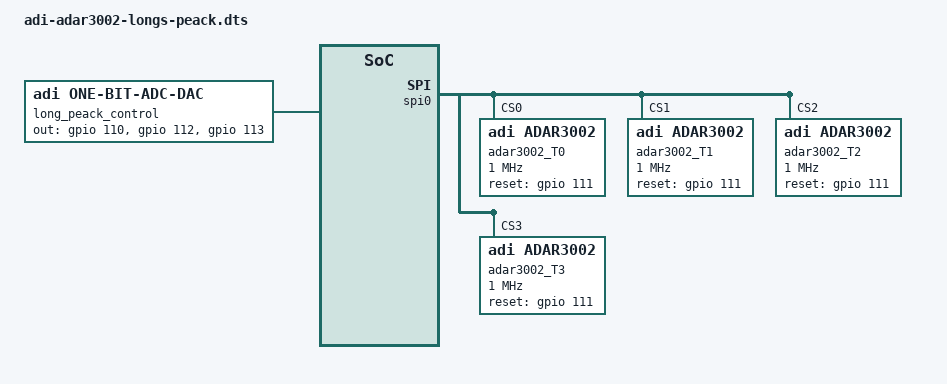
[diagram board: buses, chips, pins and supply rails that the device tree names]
// SPDX-License-Identifier: GPL-2.0
/*
 * dts file for AD9172-FMC-EBZ on Xilinx ZynqMP ZCU102 Rev 1.0
 *
 * Copyright (C) 2018-2019 Analog Devices Inc.
 */

#include "zynqmp-zcu102-rev1.0.dts"

/ {
	long_peack_control@0 {
		compatible = "adi,one-bit-adc-dac";
		#address-cells = <1>;
		#size-cells = <0>;
		// 78 offset
		out-gpios = <&gpio 110 0>, <&gpio 112 0>, <&gpio 113 0>;
		label = "long_peack_control";

		channel@0 {
			reg = <0>;
			label = "MUTE";
		};
		channel@1 {
			reg = <1>;
			label = "UPDATE";
		};
		channel@2 {
			reg = <2>;
			label = "RESET";
		};
	};
};

&spi0 {
	status = "okay";
	num-cs = <8>;
	is-decoded-cs = <1>;
	adar3002_T0: adar3002_0@0 {
		compatible = "adi,adar3002";
		reg = <0>;
		spi-max-frequency = <1000000>;
		label = "adar3002_T0";
		#address-cells = <1>;
		#size-cells = <0>;
		reset-gpios = <&gpio 111 0>;

		adar3002_0@0 {
			reg = <0>;
			label = "adar3002_U1E";
		};
		adar3002_1@1 {
			reg = <1>;
			label = "adar3002_U2E";
		};
		adar3002_2@2 {
			reg = <2>;
			label = "adar3002_U3E";
		};
		adar3002_3@3 {
			reg = <3>;
			label = "adar3002_U4E";
		};

		adar3002_4@4 {
			reg = <4>;
			label = "adar3002_U1F";
		};
		adar3002_5@5 {
			reg = <5>;
			label = "adar3002_U2F";
		};
		adar3002_6@6 {
			reg = <6>;
			label = "adar3002_U3F";
		};
		adar3002_7@7 {
			reg = <7>;
			label = "adar3002_U4F";
		};

		adar3002_8@8 {
			reg = <8>;
			label = "adar3002_U1G";
		};
		adar3002_9@9 {
			reg = <9>;
			label = "adar3002_U2G";
		};
		adar3002_10@10 {
			reg = <10>;
			label = "adar3002_U3G";
		};
		adar3002_11@11 {
			reg = <11>;
			label = "adar3002_U4G";
		};

		adar3002_12@12 {
			reg = <12>;
			label = "adar3002_U1H";
		};
		adar3002_13@13 {
			reg = <13>;
			label = "adar3002_U2H";
		};
		adar3002_14@14 {
			reg = <14>;
			label = "adar3002_U3H";
		};
		adar3002_15@15 {
			reg = <15>;
			label = "adar3002_U4H";
		};
	};

	adar3002_T1: adar3002_1@1 {
		compatible = "adi,adar3002";
		reg = <1>;
		spi-max-frequency = <1000000>;
		label = "adar3002_T1";
		#address-cells = <1>;
		#size-cells = <0>;
		reset-gpios = <&gpio 111 0>;

		adar3002_0@0 {
			reg = <0>;
			label = "adar3002_U1E";
		};
		adar3002_1@1 {
			reg = <1>;
			label = "adar3002_U2E";
		};
		adar3002_2@2 {
			reg = <2>;
			label = "adar3002_U3E";
		};
		adar3002_3@3 {
			reg = <3>;
			label = "adar3002_U4E";
		};

		adar3002_4@4 {
			reg = <4>;
			label = "adar3002_U1F";
		};
		adar3002_5@5 {
			reg = <5>;
			label = "adar3002_U2F";
		};
		adar3002_6@6 {
			reg = <6>;
			label = "adar3002_U3F";
		};
		adar3002_7@7 {
			reg = <7>;
			label = "adar3002_U4F";
		};

		adar3002_8@8 {
			reg = <8>;
			label = "adar3002_U1G";
		};
		adar3002_9@9 {
			reg = <9>;
			label = "adar3002_U2G";
		};
		adar3002_10@10 {
			reg = <10>;
			label = "adar3002_U3G";
		};
		adar3002_11@11 {
			reg = <11>;
			label = "adar3002_U4G";
		};

		adar3002_12@12 {
			reg = <12>;
			label = "adar3002_U1H";
		};
		adar3002_13@13 {
			reg = <13>;
			label = "adar3002_U2H";
		};
		adar3002_14@14 {
			reg = <14>;
			label = "adar3002_U3H";
		};
		adar3002_15@15 {
			reg = <15>;
			label = "adar3002_U4H";
		};
	};

	adar3002_T2: adar3002_2@2 {
		compatible = "adi,adar3002";
		reg = <2>;
		spi-max-frequency = <1000000>;
		label = "adar3002_T2";
		#address-cells = <1>;
		#size-cells = <0>;
		reset-gpios = <&gpio 111 0>;

		adar3002_0@0 {
			reg = <0>;
			label = "adar3002_U1E";
		};
		adar3002_1@1 {
			reg = <1>;
			label = "adar3002_U2E";
		};
		adar3002_2@2 {
			reg = <2>;
			label = "adar3002_U3E";
		};
		adar3002_3@3 {
			reg = <3>;
			label = "adar3002_U4E";
		};

		adar3002_4@4 {
			reg = <4>;
			label = "adar3002_U1F";
		};
		adar3002_5@5 {
			reg = <5>;
			label = "adar3002_U2F";
		};
		adar3002_6@6 {
			reg = <6>;
			label = "adar3002_U3F";
		};
		adar3002_7@7 {
			reg = <7>;
			label = "adar3002_U4F";
		};

		adar3002_8@8 {
			reg = <8>;
			label = "adar3002_U1G";
		};
		adar3002_9@9 {
			reg = <9>;
			label = "adar3002_U2G";
		};
		adar3002_10@10 {
			reg = <10>;
			label = "adar3002_U3G";
		};
		adar3002_11@11 {
			reg = <11>;
			label = "adar3002_U4G";
		};

		adar3002_12@12 {
			reg = <12>;
			label = "adar3002_U1H";
		};
		adar3002_13@13 {
			reg = <13>;
			label = "adar3002_U2H";
		};
		adar3002_14@14 {
			reg = <14>;
			label = "adar3002_U3H";
		};
		adar3002_15@15 {
			reg = <15>;
			label = "adar3002_U4H";
		};
	};

	adar3002_T3: adar3002_3@3 {
		compatible = "adi,adar3002";
		reg = <3>;
		spi-max-frequency = <1000000>;
		label = "adar3002_T3";
		#address-cells = <1>;
		#size-cells = <0>;
		reset-gpios = <&gpio 111 0>;

		adar3002_0@0 {
			reg = <0>;
			label = "adar3002_U1E";
		};
		adar3002_1@1 {
			reg = <1>;
			label = "adar3002_U2E";
		};
		adar3002_2@2 {
			reg = <2>;
			label = "adar3002_U3E";
		};
		adar3002_3@3 {
			reg = <3>;
			label = "adar3002_U4E";
		};

		adar3002_4@4 {
			reg = <4>;
			label = "adar3002_U1F";
		};
		adar3002_5@5 {
			reg = <5>;
			label = "adar3002_U2F";
		};
		adar3002_6@6 {
			reg = <6>;
			label = "adar3002_U3F";
		};
		adar3002_7@7 {
			reg = <7>;
			label = "adar3002_U4F";
		};

		adar3002_8@8 {
			reg = <8>;
			label = "adar3002_U1G";
		};
		adar3002_9@9 {
			reg = <9>;
			label = "adar3002_U2G";
		};
		adar3002_10@10 {
			reg = <10>;
			label = "adar3002_U3G";
		};
		adar3002_11@11 {
			reg = <11>;
			label = "adar3002_U4G";
		};

		adar3002_12@12 {
			reg = <12>;
			label = "adar3002_U1H";
		};
		adar3002_13@13 {
			reg = <13>;
			label = "adar3002_U2H";
		};
		adar3002_14@14 {
			reg = <14>;
			label = "adar3002_U3H";
		};
		adar3002_15@15 {
			reg = <15>;
			label = "adar3002_U4H";
		};
	};
};

